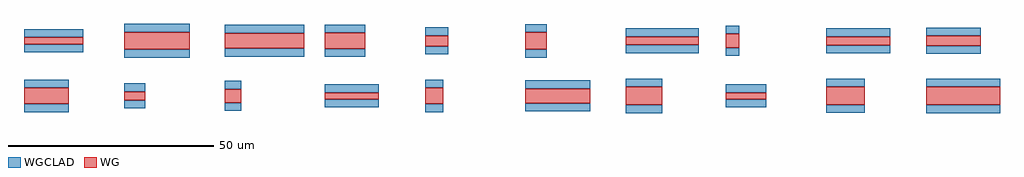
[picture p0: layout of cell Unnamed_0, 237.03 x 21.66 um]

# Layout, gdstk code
import gdstk
lib = gdstk.Library(unit=1e-6, precision=1e-09)
def R(c, l, rs):  # rectangles x0, y0, x1, y1
    for r in rs: c.add(gdstk.rectangle(r[:2], r[2:], *l))
WG = (1, 0)
WGCLAD = (111, 0)

straight_cssym_f7fe636c_ = lib.new_cell('straight_CSsym_f7fe636c_2564_L5662')
R(straight_cssym_f7fe636c_, WG, [(0,-1.282,5.662,1.282)])
R(straight_cssym_f7fe636c_, WGCLAD, [(0,-3.282,5.662,-1.282), (0,1.282,5.662,3.282)])

c_straight_cssym_f7fe636c_ = lib.new_cell('straight_CSsym_f7fe636c_3840_L9823')
R(c_straight_cssym_f7fe636c_, WG, [(0,-1.92,9.823,1.92)])
R(c_straight_cssym_f7fe636c_, WGCLAD, [(0,-3.92,9.823,-1.92), (0,1.92,9.823,3.92)])

c_straight_cssym_f7fe636c__ = lib.new_cell('straight_CSsym_f7fe636c_3850_L10846')
R(c_straight_cssym_f7fe636c__, WG, [(0,-1.925,10.846,1.925)])
R(c_straight_cssym_f7fe636c__, WGCLAD, [(0,-3.925,10.846,-1.925), (0,1.925,10.846,3.925)])

c_straight_cssym_f7fe636c___ = lib.new_cell('straight_CSsym_f7fe636c_2020_L5106')
R(c_straight_cssym_f7fe636c___, WG, [(0,-1.01,5.106,1.01)])
R(c_straight_cssym_f7fe636c___, WGCLAD, [(0,-3.01,5.106,-1.01), (0,1.01,5.106,3.01)])

c_straight_cssym_f7fe636c____ = lib.new_cell('straight_CSsym_f7fe636c_3252_L4006')
R(c_straight_cssym_f7fe636c____, WG, [(0,-1.626,4.006,1.626)])
R(c_straight_cssym_f7fe636c____, WGCLAD, [(0,-3.626,4.006,-1.626), (0,1.626,4.006,3.626)])

c_straight_cssym_f7fe636c_____ = lib.new_cell('straight_CSsym_f7fe636c_1596_L13095')
R(c_straight_cssym_f7fe636c_____, WG, [(0,-0.798,13.095,0.798)])
R(c_straight_cssym_f7fe636c_____, WGCLAD, [(0,-2.798,13.095,-0.798), (0,0.798,13.095,2.798)])

c_straight_cssym_f7fe636c______ = lib.new_cell('straight_CSsym_f7fe636c_3858_L4416')
R(c_straight_cssym_f7fe636c______, WG, [(0,-1.929,4.416,1.929)])
R(c_straight_cssym_f7fe636c______, WGCLAD, [(0,-3.929,4.416,-1.929), (0,1.929,4.416,3.929)])

c_straight_cssym_f7fe636c_______ = lib.new_cell('straight_CSsym_f7fe636c_3530_L15785')
R(c_straight_cssym_f7fe636c_______, WG, [(0,-1.765,15.785,1.765)])
R(c_straight_cssym_f7fe636c_______, WGCLAD, [(0,-3.765,15.785,-1.765), (0,1.765,15.785,3.765)])

c_straight_cssym_f7fe636c________ = lib.new_cell('straight_CSsym_f7fe636c_4124_L5219')
R(c_straight_cssym_f7fe636c________, WG, [(0,-2.062,5.219,2.062)])
R(c_straight_cssym_f7fe636c________, WGCLAD, [(0,-4.062,5.219,-2.062), (0,2.062,5.219,4.062)])

c_straight_cssym_f7fe636c_________ = lib.new_cell('straight_CSsym_f7fe636c_4350_L8922')
R(c_straight_cssym_f7fe636c_________, WG, [(0,-2.175,8.922,2.175)])
R(c_straight_cssym_f7fe636c_________, WGCLAD, [(0,-4.175,8.922,-2.175), (0,2.175,8.922,4.175)])

c_straight_cssym_f7fe636c__________ = lib.new_cell('straight_CSsym_f7fe636c_2024_L17803')
R(c_straight_cssym_f7fe636c__________, WG, [(0,-1.012,17.803,1.012)])
R(c_straight_cssym_f7fe636c__________, WGCLAD, [(0,-3.012,17.803,-1.012), (0,1.012,17.803,3.012)])

c_straight_cssym_f7fe636c___________ = lib.new_cell('straight_CSsym_f7fe636c_1618_L9829')
R(c_straight_cssym_f7fe636c___________, WG, [(0,-0.809,9.829,0.809)])
R(c_straight_cssym_f7fe636c___________, WGCLAD, [(0,-2.809,9.829,-0.809), (0,0.809,9.829,2.809)])

c_straight_cssym_f7fe636c____________ = lib.new_cell('straight_CSsym_f7fe636c_3316_L3300')
R(c_straight_cssym_f7fe636c____________, WG, [(0,-1.658,3.3,1.658)])
R(c_straight_cssym_f7fe636c____________, WGCLAD, [(0,-3.658,3.3,-1.658), (0,1.658,3.3,3.658)])

c_straight_cssym_f7fe636c_____________ = lib.new_cell('straight_CSsym_f7fe636c_4310_L9421')
R(c_straight_cssym_f7fe636c_____________, WG, [(0,-2.155,9.421,2.155)])
R(c_straight_cssym_f7fe636c_____________, WGCLAD, [(0,-4.155,9.421,-2.155), (0,2.155,9.421,4.155)])

c_straight_cssym_f7fe636c______________ = lib.new_cell('straight_CSsym_f7fe636c_2056_L15575')
R(c_straight_cssym_f7fe636c______________, WG, [(0,-1.028,15.575,1.028)])
R(c_straight_cssym_f7fe636c______________, WGCLAD, [(0,-3.028,15.575,-1.028), (0,1.028,15.575,3.028)])

c_straight_cssym_f7fe636c_______________ = lib.new_cell('straight_CSsym_f7fe636c_4374_L17872')
R(c_straight_cssym_f7fe636c_______________, WG, [(0,-2.187,17.872,2.187)])
R(c_straight_cssym_f7fe636c_______________, WGCLAD, [(0,-4.187,17.872,-2.187), (0,2.187,17.872,4.187)])

c_straight_cssym_f7fe636c________________ = lib.new_cell('straight_CSsym_f7fe636c_2322_L13183')
R(c_straight_cssym_f7fe636c________________, WG, [(0,-1.161,13.183,1.161)])
R(c_straight_cssym_f7fe636c________________, WGCLAD, [(0,-3.161,13.183,-1.161), (0,1.161,13.183,3.161)])

c_straight_cssym_f7fe636c_________________ = lib.new_cell('straight_CSsym_f7fe636c_1656_L14447')
R(c_straight_cssym_f7fe636c_________________, WG, [(0,-0.828,14.447,0.828)])
R(c_straight_cssym_f7fe636c_________________, WGCLAD, [(0,-2.828,14.447,-0.828), (0,0.828,14.447,2.828)])

c_straight_cssym_f7fe636c__________________ = lib.new_cell('straight_CSsym_f7fe636c_4194_L15859')
R(c_straight_cssym_f7fe636c__________________, WG, [(0,-2.097,15.859,2.097)])
R(c_straight_cssym_f7fe636c__________________, WGCLAD, [(0,-4.097,15.859,-2.097), (0,2.097,15.859,4.097)])

c_straight_cssym_f7fe636c___________________ = lib.new_cell('straight_CSsym_f7fe636c_3746_L19351')
R(c_straight_cssym_f7fe636c___________________, WG, [(0,-1.873,19.351,1.873)])
R(c_straight_cssym_f7fe636c___________________, WGCLAD, [(0,-3.873,19.351,-1.873), (0,1.873,19.351,3.873)])

unnamed_0 = lib.new_cell('Unnamed_0')
unnamed_0.add(gdstk.Reference(straight_cssym_f7fe636c_, (109.58,20.061)))
unnamed_0.add(gdstk.Reference(c_straight_cssym_f7fe636c_, (85.229,20.061)))
unnamed_0.add(gdstk.Reference(c_straight_cssym_f7fe636c__, (12.176,6.687)))
unnamed_0.add(gdstk.Reference(c_straight_cssym_f7fe636c___, (36.527,6.687)))
unnamed_0.add(gdstk.Reference(c_straight_cssym_f7fe636c____, (60.878,6.687)))
unnamed_0.add(gdstk.Reference(c_straight_cssym_f7fe636c_____, (85.229,6.687)))
unnamed_0.add(gdstk.Reference(c_straight_cssym_f7fe636c______, (109.58,6.687)))
unnamed_0.add(gdstk.Reference(c_straight_cssym_f7fe636c_______, (133.931,6.687)))
unnamed_0.add(gdstk.Reference(c_straight_cssym_f7fe636c________, (133.931,20.061)))
unnamed_0.add(gdstk.Reference(c_straight_cssym_f7fe636c_________, (158.282,6.687)))
unnamed_0.add(gdstk.Reference(c_straight_cssym_f7fe636c__________, (158.282,20.061)))
unnamed_0.add(gdstk.Reference(c_straight_cssym_f7fe636c___________, (182.633,6.687)))
unnamed_0.add(gdstk.Reference(c_straight_cssym_f7fe636c____________, (182.633,20.061)))
unnamed_0.add(gdstk.Reference(c_straight_cssym_f7fe636c_____________, (206.984,6.687)))
unnamed_0.add(gdstk.Reference(c_straight_cssym_f7fe636c______________, (206.984,20.061)))
unnamed_0.add(gdstk.Reference(c_straight_cssym_f7fe636c_______________, (231.335,6.687)))
unnamed_0.add(gdstk.Reference(c_straight_cssym_f7fe636c________________, (231.335,20.061)))
unnamed_0.add(gdstk.Reference(c_straight_cssym_f7fe636c_________________, (12.176,20.061)))
unnamed_0.add(gdstk.Reference(c_straight_cssym_f7fe636c__________________, (36.527,20.061)))
unnamed_0.add(gdstk.Reference(c_straight_cssym_f7fe636c___________________, (60.878,20.061)))

lib.write_gds('Unnamed_0.gds')
